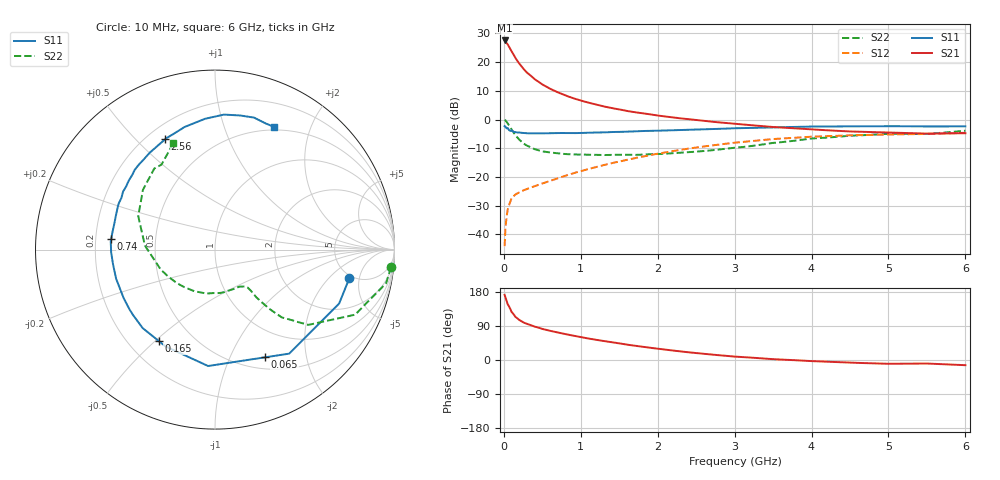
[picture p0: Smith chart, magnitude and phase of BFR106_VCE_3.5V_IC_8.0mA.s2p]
! Infineon Technologies  Discrete & RF Semiconductors
! BFR106
! VCE =  3.5 V,  IC =  8.0 mA
! Common Emitter S-Parameters:  Nov 2015
# GHz  S  MA  R  50
!  f  S11  S21  S12  S22
! GHz  MAG  ANG  MAG  ANG  MAG  ANG  MAG  ANG
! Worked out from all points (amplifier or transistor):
!   210 points, 10 MHz to 6 GHz, reference 50 ohm
!   highest |S21| = 27.6 dB at 10 MHz (marker M1)
!   |S21| within 3 dB of that: start of sweep to 83.55 MHz
!   unconditionally stable (mu >= 1): 525.4 MHz to 2.083 GHz; 5.042 GHz to end of sweep
!   at 185 MHz: K = 0.50, MSG = 22.9 dB, |S12| = -25.6 dB
!   at 1.52 GHz: K = 1.09, MAG = 7.1 dB, |S12| = -14.5 dB
!   at 6 GHz: K = 1.01, MAG = -0.8 dB, |S12| = -4.6 dB
!   S11 on the Smith chart (normalised r, x): 10 MHz: 4.65, -3.60; 65 MHz: 0.64, -1.36; 165 MHz: 0.32, -0.51; 740 MHz: 0.27, +0.05; 2.56 GHz: 0.27, +0.61; 6 GHz: 0.46, +1.50
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0.01  0.7652 -12.1  23.86 172.0  0.0062 85.5  0.9859 -5.7
0.02  0.754 -23.5  23.25 165.8  0.0121 78.9  0.9715 -11.1
0.05  0.712 -54.5  20.41 147.3  0.0269 65.8  0.861 -24.9
0.065  0.6615 -65.2  18.73 142.3  0.0313 60.2  0.7985 -28.4
0.1  0.6497 -93.4  15.55 127.0  0.0423 51.9  0.6677 -38.9
0.15  0.6058 -117.1  11.78 113.7  0.0494 45.0  0.5306 -45.4
0.165  0.5978 -121.7  11.06 111.7  0.0507 44.6  0.5051 -46.0
0.2  0.5946 -132.7  9.455 105.8  0.0538 43.7  0.4459 -47.5
0.22  0.5877 -137.0  8.766 103.5  0.0555 43.6  0.4216 -47.9
0.26  0.5811 -145.2  7.523 98.6  0.0587 43.8  0.3784 -48.6
0.3  0.5761 -152.1  6.573 95.1  0.0613 44.7  0.351 -49.1
0.4  0.5744 -163.5  5.052 88.1  0.0689 47.5  0.3044 -48.9
0.5  0.5739 -171.7  4.083 82.0  0.0765 50.5  0.2785 -49.3
0.74  0.5812 173.9  2.837 70.8  0.0985 56.0  0.2546 -53.8
1.02  0.5833 161.5  2.104 59.7  0.128 59.4  0.2443 -61.9
1.4  0.6055 147.8  1.582 47.0  0.1731 60.5  0.2425 -76.8
2.02  0.6389 129.0  1.164 29.3  0.2562 56.7  0.2506 -107.3
2.56  0.6744 114.3  0.957 17.0  0.3334 49.8  0.2794 -136.6
3.1  0.7073 102.1  0.819 7.8  0.4059 41.0  0.331 -165.2
4.1  0.7542 84.8  0.66 -3.7  0.5067 23.2  0.4742 153.0
5.1  0.7644 72.4  0.588 -9.9  0.5504 8.0  0.563 125.9
6  0.7589 64.1  0.577 -13.7  0.5875 -2.7  0.6374 111.3
